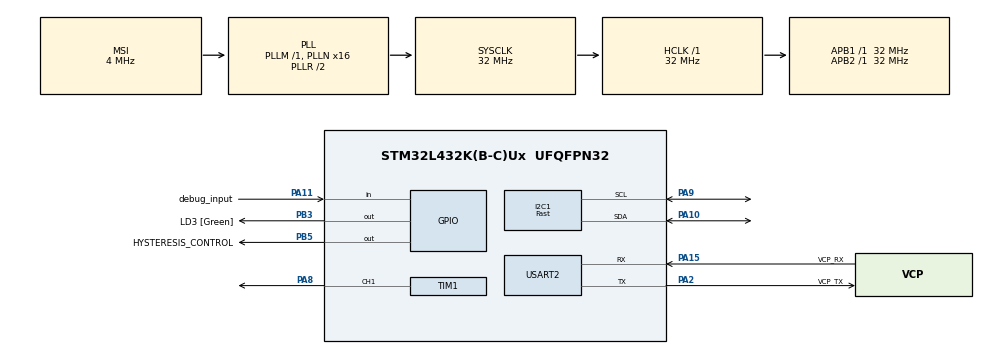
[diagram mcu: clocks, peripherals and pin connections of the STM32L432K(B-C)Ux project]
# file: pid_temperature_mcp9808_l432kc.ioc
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Dma.Request0=USART2_TX
Dma.Request1=TIM15_CH1/UP/TRIG/COM
Dma.Request2=TIM1_CH1
Dma.TIM15_CH1/UP/TRIG/COM.1.Direction=DMA_PERIPH_TO_MEMORY
Dma.TIM15_CH1/UP/TRIG/COM.1.Instance=DMA1_Channel5
Dma.TIM15_CH1/UP/TRIG/COM.1.MemDataAlignment=DMA_MDATAALIGN_HALFWORD
Dma.TIM15_CH1/UP/TRIG/COM.1.MemInc=DMA_MINC_ENABLE
Dma.TIM15_CH1/UP/TRIG/COM.1.Mode=DMA_NORMAL
Dma.TIM15_CH1/UP/TRIG/COM.1.PeriphDataAlignment=DMA_PDATAALIGN_HALFWORD
Dma.TIM15_CH1/UP/TRIG/COM.1.PeriphInc=DMA_PINC_DISABLE
Dma.TIM15_CH1/UP/TRIG/COM.1.Priority=DMA_PRIORITY_LOW
Dma.TIM1_CH1.2.Direction=DMA_PERIPH_TO_MEMORY
Dma.TIM1_CH1.2.Instance=DMA1_Channel2
Dma.TIM1_CH1.2.MemDataAlignment=DMA_MDATAALIGN_HALFWORD
Dma.TIM1_CH1.2.MemInc=DMA_MINC_ENABLE
Dma.TIM1_CH1.2.Mode=DMA_NORMAL
Dma.TIM1_CH1.2.PeriphDataAlignment=DMA_PDATAALIGN_HALFWORD
Dma.TIM1_CH1.2.PeriphInc=DMA_PINC_DISABLE
Dma.TIM1_CH1.2.Priority=DMA_PRIORITY_LOW
Dma.USART2_TX.0.Direction=DMA_MEMORY_TO_PERIPH
Dma.USART2_TX.0.Instance=DMA1_Channel7
Dma.USART2_TX.0.MemDataAlignment=DMA_MDATAALIGN_BYTE
Dma.USART2_TX.0.MemInc=DMA_MINC_ENABLE
Dma.USART2_TX.0.Mode=DMA_NORMAL
Dma.USART2_TX.0.PeriphDataAlignment=DMA_PDATAALIGN_BYTE
Dma.USART2_TX.0.PeriphInc=DMA_PINC_DISABLE
Dma.USART2_TX.0.Priority=DMA_PRIORITY_LOW
I2C1.I2C_Speed_Mode=I2C_Fast
I2C1.Speed=200
I2C1.Timing=0x0060117F
Mcu.Family=STM32L4
Mcu.Name=STM32L432K(B-C)Ux
Mcu.Package=UFQFPN32
NVIC.DMA1_Channel2_IRQn=true\:0\:0\:false\:false\:true\:false\:true\:true
NVIC.DMA1_Channel5_IRQn=true\:0\:0\:false\:false\:true\:false\:true\:true
NVIC.DMA1_Channel7_IRQn=true\:0\:0\:false\:false\:true\:false\:true\:true
NVIC.PriorityGroup=NVIC_PRIORITYGROUP_4
NVIC.TIM1_BRK_TIM15_IRQn=true\:0\:0\:false\:false\:true\:true\:true\:true
NVIC.USART2_IRQn=true\:0\:0\:false\:false\:true\:true\:true\:true
PA0.GPIO_Label=MCO [High speed clock in]
PA0.Mode=HSE-External-Clock-Source-for-LittleOrca
PA0.Signal=RCC_CK_IN
PA10.Mode=I2C
PA10.Signal=I2C1_SDA
PA11.GPIO_Label=debug_input
PA11.GPIO_PuPd=GPIO_PULLDOWN
PA11.Signal=GPIO_Input
PA13\ (JTMS-SWDIO).GPIO_Label=SWDIO
PA13\ (JTMS-SWDIO).Mode=Serial_Wire
PA13\ (JTMS-SWDIO).Signal=SYS_JTMS-SWDIO
PA14\ (JTCK-SWCLK).GPIO_Label=SWCLK
PA14\ (JTCK-SWCLK).Mode=Serial_Wire
PA14\ (JTCK-SWCLK).Signal=SYS_JTCK-SWCLK
PA15\ (JTDI).GPIO_Label=VCP_RX
PA15\ (JTDI).Mode=Asynchronous
PA15\ (JTDI).Signal=USART2_RX
PA2.GPIO_Label=VCP_TX
PA2.Mode=Asynchronous
PA2.Signal=USART2_TX
PA8.Signal=S_TIM1_CH1
PA9.Mode=I2C
PA9.Signal=I2C1_SCL
PB3\ (JTDO-TRACESWO).GPIO_Label=LD3 [Green]
PB3\ (JTDO-TRACESWO).Signal=GPIO_Output
PB5.GPIO_Label=HYSTERESIS_CONTROL
PB5.Signal=GPIO_Output
PC14-OSC32_IN\ (PC14).Mode=LSE-External-Oscillator
PC14-OSC32_IN\ (PC14).Signal=RCC_OSC32_IN
PC15-OSC32_OUT\ (PC15).Mode=LSE-External-Oscillator
PC15-OSC32_OUT\ (PC15).Signal=RCC_OSC32_OUT
ProjectManager.HeapSize=0x200
ProjectManager.StackSize=0x400
ProjectManager.TargetToolchain=STM32CubeIDE
RCC.AHBFreq_Value=32000000
RCC.APB1Freq_Value=32000000
RCC.APB1TimFreq_Value=32000000
RCC.APB2Freq_Value=32000000
RCC.APB2TimFreq_Value=32000000
RCC.CortexFreq_Value=32000000
RCC.HCLKFreq_Value=32000000
RCC.HSE_VALUE=8000000
RCC.HSI16_VALUE=16000000
RCC.HSI48_VALUE=48000000
RCC.HSI_VALUE=16000000
RCC.MSI_VALUE=4000000
RCC.PLLMUL=RCC_PLLMUL_4
RCC.PLLN=16
RCC.SYSCLKFreq_VALUE=32000000
RCC.SYSCLKSource=RCC_SYSCLKSOURCE_PLLCLK
RCC.VCOOutputFreq_Value=64000000
SH.S_TIM1_CH1.0=TIM1_CH1,PWM Generation1 CH1
TIM1.Channel-PWM\ Generation1\ CH1=TIM_CHANNEL_1
TIM1.Period=10
TIM1.Prescaler=32000-1
TIM15.Period=200-1
TIM15.Prescaler=32000-1
TIM15.TIM_MasterOutputTrigger=TIM_TRGO_UPDATE
USART2.VirtualMode-Asynchronous=VM_ASYNC
VP_TIM15_VS_ClockSourceINT.Mode=Internal
VP_TIM1_VS_ClockSourceINT.Mode=Internal
board=NUCLEO-L432KC

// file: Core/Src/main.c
/* USER CODE BEGIN Header */
/**
  ******************************************************************************
  * @file           : main.c
  * @brief          : Main program body
  ******************************************************************************
  * @attention
  *
  * Copyright (c) 2024 STMicroelectronics.
  * All rights reserved.
  *
  * This software is licensed under terms that can be found in the LICENSE file
  * in the root directory of this software component.
  * If no LICENSE file comes with this software, it is provided AS-IS.
  *
  ******************************************************************************
  */
/* USER CODE END Header */
#include "main.h"
#include "dma.h"
#include "i2c.h"
#include "tim.h"
#include "usart.h"
#include "gpio.h"

/* USER CODE BEGIN Includes */

#include <stdio.h>
#include <string.h>
#include "printf.h"  // https://embeddedartistry.com/blog/2019/11/06/an-embedded-friendly-printf-implementation/
#include "mcp9808.h" // https://embeddedespresso.com/temperature-measurement-never-so-easy-with-stm32-and-mcp9808/

/* USER CODE END Includes */

/* USER CODE BEGIN PTD */
typedef enum
{
	Init = 0,
	None  = 1,
	Hysteresis = 2,
	PI = 3,
}_control_type;
/* USER CODE END PTD */

/* USER CODE BEGIN PD */

#define UART_SEND_PERIOD 500
#define UART_BUS_POINTER (&huart2)
#define PWM_MIN 0
#define PWM_MAX 999
#define KP_PI_GAIN 500 // guessing and checking :)
#define KI_PI_GAIN 500
#define SAMPLE_TIME 0.2 //s

/* USER CODE END PD */

/* USER CODE BEGIN PV */

uint8_t msgStr[64]; /* String where to store the OLED line and/or the serial port output */

static volatile _control_type last_control_type = None;
static volatile _control_type control_type = Init;
static volatile float tempVal; // The static volatile modifiers were an attempt to solve the visibility problem in SWV Data Trace Timeline Graph. Didn't work. Area 51.
static volatile float tempLower;
static volatile float tempUpper;
static volatile float tempRef = 40.0;
static volatile float tempHysteresisWidth = 5.0;
static volatile uint32_t timestamp_OFF = 0;
static volatile uint32_t falling_time = 500;

uint32_t pwmDuty;

uint32_t uartSoftTimer;

/* USER CODE END PV */

void SystemClock_Config(void);
/* USER CODE BEGIN PFP */
void ControlFeedbackLoop(void);

/* USER CODE END PFP */

/* USER CODE BEGIN 0 */

void turnOFF_PWM(void)
{
	HAL_GPIO_DeInit(GPIOA, GPIO_PIN_8);

	GPIO_InitTypeDef GPIO_InitStruct = {0};
	GPIO_InitStruct.Pin = GPIO_PIN_8;
	GPIO_InitStruct.Mode = GPIO_MODE_INPUT;
	GPIO_InitStruct.Pull = GPIO_PULLDOWN;
	HAL_GPIO_Init(GPIOA, &GPIO_InitStruct);

}

void turnOFF_Hist(void)
{
	HAL_GPIO_DeInit(GPIOB, HYSTERESIS_CONTROL_Pin);

	GPIO_InitTypeDef GPIO_InitStruct = {0};
	GPIO_InitStruct.Pin = HYSTERESIS_CONTROL_Pin;
	GPIO_InitStruct.Mode = GPIO_MODE_INPUT;
	GPIO_InitStruct.Pull = GPIO_PULLDOWN;
	HAL_GPIO_Init(GPIOB, &GPIO_InitStruct);
}

void ControlFeedbackLoop(void)
{
	tempVal = Mcp9808GetTemperature();
	switch(control_type)
	{
		case Init: //Both Stop
		{
			turnOFF_PWM();
			turnOFF_Hist();
			control_type = None;
			break;
		}
		case None: //Both Stop
		{
			if(last_control_type != None)
			{
				turnOFF_PWM();
				turnOFF_Hist();
			}
			break;
		}
		case Hysteresis: //PWM Stop
		{
			if(last_control_type != Hysteresis)
			{
				turnOFF_PWM();

				GPIO_InitTypeDef GPIO_InitStruct = {0};
				GPIO_InitStruct.Pin = HYSTERESIS_CONTROL_Pin;
				GPIO_InitStruct.Mode = GPIO_MODE_OUTPUT_PP;
				GPIO_InitStruct.Pull = GPIO_NOPULL;
				GPIO_InitStruct.Speed = GPIO_SPEED_FREQ_LOW;
				HAL_GPIO_Init(GPIOB, &GPIO_InitStruct);
			}

			HAL_GPIO_WritePin(HYSTERESIS_CONTROL_GPIO_Port, HYSTERESIS_CONTROL_Pin,
						hysteresisCtrl(tempRef - tempVal, tempHysteresisWidth));

			break;
		}
		case PI: //Hysteresis stop
		{
			if(last_control_type != PI)
			{
				turnOFF_Hist();

				GPIO_InitTypeDef GPIO_InitStruct = {0};
			    GPIO_InitStruct.Pin = GPIO_PIN_8;
			    GPIO_InitStruct.Mode = GPIO_MODE_AF_PP;
			    GPIO_InitStruct.Pull = GPIO_NOPULL;
			    GPIO_InitStruct.Speed = GPIO_SPEED_FREQ_LOW;
			    GPIO_InitStruct.Alternate = GPIO_AF1_TIM1;
			    HAL_GPIO_Init(GPIOA, &GPIO_InitStruct);
			}

			pwmDuty = piCtrl(tempRef - tempVal, SAMPLE_TIME, KP_PI_GAIN, KI_PI_GAIN,
							PWM_MIN, PWM_MAX); // both controllers are active - you can switch between them on the breadboard
			HAL_TIM_PWM_Start_DMA(&htim1, TIM_CHANNEL_1, &pwmDuty, 1);

			break;
		}
		default:
		{
			turnOFF_PWM();
			turnOFF_Hist();
			break;
		}
	}
	last_control_type = control_type;
}

/* USER CODE END 0 */

int main(void)
{

  /* MCU Configuration--------------------------------------------------------*/

  /* Reset of all peripherals, Initializes the Flash interface and the Systick. */
  HAL_Init();

  /* Configure the system clock */
  SystemClock_Config();

  /* Initialize all configured peripherals */
  MX_GPIO_Init();
  MX_DMA_Init();
  MX_USART2_UART_Init();
  MX_I2C1_Init();
  MX_TIM1_Init();
  MX_TIM15_Init();
  /* USER CODE BEGIN 2 */

	Mcp9808SetResolution(3);
	HAL_TIM_Base_Start_IT(&htim15); // control loop interrupt
	uartSoftTimer = HAL_GetTick();
  /* USER CODE END 2 */

  /* Infinite loop */
  /* USER CODE BEGIN WHILE */
	while (1)
	{
		if (HAL_GetTick() - uartSoftTimer > UART_SEND_PERIOD)
		{
			uartSoftTimer = HAL_GetTick();
			sprintf((char*) msgStr, "MCP9808 reading: %.3f °C\r\n", tempVal);
			HAL_UART_Transmit_DMA(UART_BUS_POINTER, msgStr,
					strlen((char*) msgStr));
		}
    /* USER CODE END WHILE */

	}
}

void SystemClock_Config(void)
{
  RCC_OscInitTypeDef RCC_OscInitStruct = {0};
  RCC_ClkInitTypeDef RCC_ClkInitStruct = {0};

  /** Configure the main internal regulator output voltage
  */
  if (HAL_PWREx_ControlVoltageScaling(PWR_REGULATOR_VOLTAGE_SCALE1) != HAL_OK)
  {
    Error_Handler();
  }

  /** Configure LSE Drive Capability
  */
  HAL_PWR_EnableBkUpAccess();
  __HAL_RCC_LSEDRIVE_CONFIG(RCC_LSEDRIVE_LOW);

  /** Initializes the RCC Oscillators according to the specified parameters
  * in the RCC_OscInitTypeDef structure.
  */
  RCC_OscInitStruct.OscillatorType = RCC_OSCILLATORTYPE_LSE|RCC_OSCILLATORTYPE_MSI;
  RCC_OscInitStruct.LSEState = RCC_LSE_ON;
  RCC_OscInitStruct.MSIState = RCC_MSI_ON;
  RCC_OscInitStruct.MSICalibrationValue = 0;
  RCC_OscInitStruct.MSIClockRange = RCC_MSIRANGE_6;
  RCC_OscInitStruct.PLL.PLLState = RCC_PLL_ON;
  RCC_OscInitStruct.PLL.PLLSource = RCC_PLLSOURCE_MSI;
  RCC_OscInitStruct.PLL.PLLM = 1;
  RCC_OscInitStruct.PLL.PLLN = 16;
  RCC_OscInitStruct.PLL.PLLP = RCC_PLLP_DIV7;
  RCC_OscInitStruct.PLL.PLLQ = RCC_PLLQ_DIV2;
  RCC_OscInitStruct.PLL.PLLR = RCC_PLLR_DIV2;
  if (HAL_RCC_OscConfig(&RCC_OscInitStruct) != HAL_OK)
  {
    Error_Handler();
  }

  /** Initializes the CPU, AHB and APB buses clocks
  */
  RCC_ClkInitStruct.ClockType = RCC_CLOCKTYPE_HCLK|RCC_CLOCKTYPE_SYSCLK
                              |RCC_CLOCKTYPE_PCLK1|RCC_CLOCKTYPE_PCLK2;
  RCC_ClkInitStruct.SYSCLKSource = RCC_SYSCLKSOURCE_PLLCLK;
  RCC_ClkInitStruct.AHBCLKDivider = RCC_SYSCLK_DIV1;
  RCC_ClkInitStruct.APB1CLKDivider = RCC_HCLK_DIV1;
  RCC_ClkInitStruct.APB2CLKDivider = RCC_HCLK_DIV1;

  if (HAL_RCC_ClockConfig(&RCC_ClkInitStruct, FLASH_LATENCY_1) != HAL_OK)
  {
    Error_Handler();
  }

  /** Enable MSI Auto calibration
  */
  HAL_RCCEx_EnableMSIPLLMode();
}

/* USER CODE BEGIN 4 */

void HAL_TIM_PeriodElapsedCallback(TIM_HandleTypeDef *htim)
{
	if (htim->Instance == TIM15) // 5 Hz
	{
		ControlFeedbackLoop();
	}
}

/* USER CODE END 4 */

void Error_Handler(void)
{
  __disable_irq();
  while (1)
  {
  }
}
